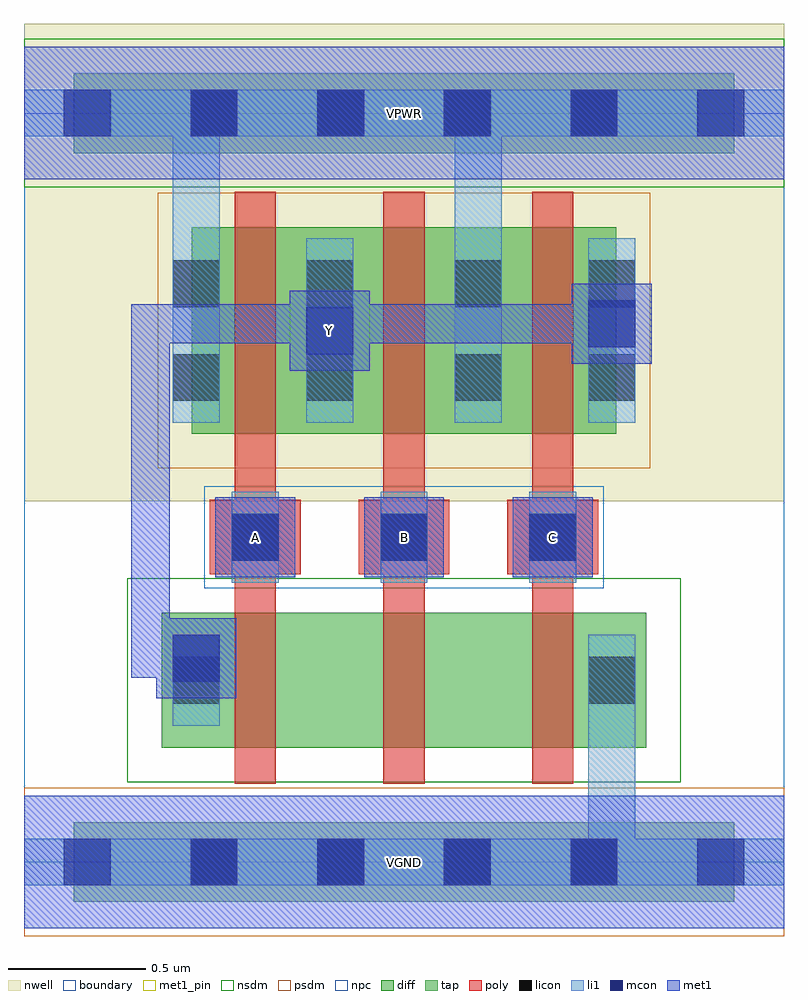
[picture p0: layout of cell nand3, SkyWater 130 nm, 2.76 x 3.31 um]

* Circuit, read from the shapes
.subckt nand3 A B C VGND VPWR Y
XM1 n1 A Y VGND sky130_fd_pr__nfet_01v8 w=0.49 l=0.15
XM2 n2 B n1 VGND sky130_fd_pr__nfet_01v8 w=0.49 l=0.15
XM3 VGND C n2 VGND sky130_fd_pr__nfet_01v8 w=0.49 l=0.15
XM4 Y A VPWR VPWR sky130_fd_pr__pfet_01v8 w=0.75 l=0.15
XM5 VPWR B Y VPWR sky130_fd_pr__pfet_01v8 w=0.75 l=0.15
XM6 Y C VPWR VPWR sky130_fd_pr__pfet_01v8 w=0.75 l=0.15
.ends

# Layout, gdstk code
import gdstk
lib = gdstk.Library(unit=1e-6, precision=1e-09)
def R(c, l, rs):  # rectangles x0, y0, x1, y1
    for r in rs: c.add(gdstk.rectangle(r[:2], r[2:], *l))
def A(c, l, x, y, w, h, nx, ny, dx, dy):  # array of equal rectangles
    R(c, l, [(x+i*dx, y+j*dy, x+i*dx+w, y+j*dy+h) for i in range(nx) for j in range(ny)])
nwell = (64, 20)
diff = (65, 20)
tap = (65, 44)
poly = (66, 20)
licon = (66, 44)
li1 = (67, 20)
mcon = (67, 44)
met1_pin = (68, 16)
met1 = (68, 20)
nsdm = (93, 44)
psdm = (94, 20)
npc = (95, 20)
boundary = (235, 4)

nand3 = lib.new_cell('nand3')
R(nand3, nwell, [(0,1.31,2.76,3.045)])
R(nand3, diff, [(0.5,0.415,2.26,0.905), (0.61,1.555,2.15,2.305)])
R(nand3, tap, [(0.18,-0.145,2.58,0.145), (0.18,2.575,2.58,2.865)])
A(nand3, poly, 0.765, 0.285, 0.15, 2.15, 3, 1, 0.54, 0)
A(nand3, poly, 0.675, 1.045, 0.33, 0.27, 3, 1, 0.54, 0)
A(nand3, licon, 0.605, -0.085, 0.17, 0.17, 4, 2, 0.46, 2.72)
A(nand3, licon, 0.755, 1.095, 0.17, 0.17, 3, 1, 0.54, 0)
R(nand3, licon, [(0.54,0.575,0.71,0.745), (2.05,0.575,2.22,0.745), (0.54,1.675,0.71,1.845), (1.025,1.675,1.195,1.845), (1.565,1.675,1.735,1.845), (2.05,1.675,2.22,1.845), (0.54,2.015,0.71,2.185), (1.025,2.015,1.195,2.185), (1.565,2.015,1.735,2.185), (2.05,2.015,2.22,2.185)])
A(nand3, li1, 0.755, 1.015, 0.17, 0.33, 3, 1, 0.54, 0)
R(nand3, li1, [(0,-0.085,2.76,0.085), (2.05,-0.085,2.22,0.825), (0.54,0.495,0.71,0.825), (2.05,0.495,2.22,0.825), (0.54,1.595,0.71,2.265), (0.54,1.595,0.71,2.805), (1.025,1.595,1.195,2.265), (1.565,1.595,1.735,2.265), (1.565,1.595,1.735,2.805), (2.05,1.595,2.22,2.265), (0,2.635,2.76,2.805)])
A(nand3, mcon, 0.145, -0.085, 0.17, 0.17, 6, 2, 0.46, 2.72)
A(nand3, mcon, 0.755, 1.095, 0.17, 0.17, 3, 1, 0.54, 0)
R(nand3, mcon, [(0.54,0.655,0.71,0.825), (1.025,1.845,1.195,2.015), (2.05,1.87,2.22,2.04)])
A(nand3, met1_pin, 0.695, 1.035, 0.29, 0.29, 3, 1, 0.54, 0)
R(nand3, met1_pin, [(0,-0.24,2.76,0.24), (0.965,1.785,1.255,2.075), (0,2.48,2.76,2.96)])
A(nand3, met1, 0.695, 1.035, 0.29, 0.29, 3, 1, 0.54, 0)
R(nand3, met1, [(0,-0.24,2.76,0.24), (0.48,0.595,0.77,0.885), (0.39,0.67,0.695,0.81), (0.39,0.67,0.53,0.99), (0.39,0.85,0.53,2.025), (0.965,1.785,1.255,2.075), (1.99,1.81,2.28,2.1), (0.39,1.885,1.22,2.025), (1.08,1.885,1.22,2.025), (1.08,1.885,2.025,2.025), (1.885,1.885,2.205,2.025), (0,2.48,2.76,2.96)])
R(nand3, nsdm, [(0.375,0.29,2.385,1.03), (0,2.45,2.76,2.99)])
R(nand3, psdm, [(0,-0.27,2.76,0.27), (0.485,1.43,2.275,2.43)])
R(nand3, npc, [(0.655,0.995,2.105,1.365)])
R(nand3, boundary, [(0,0,2.76,2.72)])
nand3.add(gdstk.Label('A', (0.84,1.18), layer=68, texttype=5))
nand3.add(gdstk.Label('B', (1.38,1.18), layer=68, texttype=5))
nand3.add(gdstk.Label('C', (1.92,1.18), layer=68, texttype=5))
nand3.add(gdstk.Label('Y', (1.11,1.93), layer=68, texttype=5))
nand3.add(gdstk.Label('VPWR', (1.38,2.72), layer=68, texttype=5))
nand3.add(gdstk.Label('VGND', (1.38,0), layer=68, texttype=5))
nand3.add(gdstk.Label('A', (0.84,1.18), layer=68, texttype=16))
nand3.add(gdstk.Label('B', (1.38,1.18), layer=68, texttype=16))
nand3.add(gdstk.Label('C', (1.92,1.18), layer=68, texttype=16))
nand3.add(gdstk.Label('Y', (1.11,1.93), layer=68, texttype=16))
nand3.add(gdstk.Label('VPWR', (1.38,2.72), layer=68, texttype=16))
nand3.add(gdstk.Label('VGND', (1.38,0), layer=68, texttype=16))

lib.write_gds('nand3.gds')
